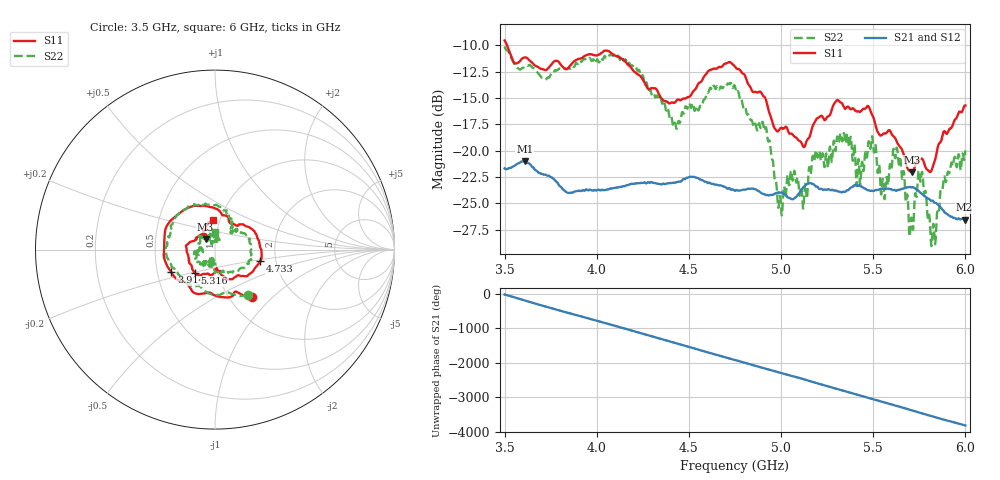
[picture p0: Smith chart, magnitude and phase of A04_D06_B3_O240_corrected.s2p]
! Created with skrf 1.9.0 (http://scikit-rf.org).
# Hz S RI R 50.0
!freq ReS11 ImS11 ReS21 ImS21 ReS12 ImS12 ReS22 ImS22
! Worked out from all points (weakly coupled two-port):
!   1601 points, 3.5 GHz to 6 GHz, reference 50 ohm
!   highest |S21| = -20.99 dB at 3.609 GHz (marker M1); lowest = -26.6 dB at 5.995 GHz (marker M2)
!   lowest |S11| = -22.0 dB at 5.709 GHz (marker M3), VSWR 1.17, Z = 44.7 + j5.31 ohm
!   |S11| at or under -10 dB: 3.514 GHz to end of sweep
!   |S22| runs from -29.1 to -10.1 dB; largest |S21 - S12| = 0.00097
!   S11 on the Smith chart (normalised r, x): 3.5 GHz: 1.27, -0.75; 3.914 GHz: 0.59, -0.16; 4.733 GHz: 1.65, -0.23; 5.316 GHz: 0.77, -0.21; 6 GHz: 0.93, +0.31
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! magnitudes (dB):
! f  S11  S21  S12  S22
! 3.5 GHz  -9.5  -21.7  -21.7  -10.1
! 3.609 GHz  -11.1  -21.0  -21.0  -12.0
! 3.914 GHz  -11.2  -23.8  -23.8  -11.5
! 3.917 GHz  -11.2  -23.8  -23.8  -11.5
! 4.334 GHz  -14.5  -23.2  -23.1  -15.1
! 4.427 GHz  -15.4  -23.0  -23.0  -17.5
! 4.733 GHz  -11.7  -23.7  -23.7  -13.8
! 4.75 GHz  -12.0  -23.8  -23.7  -13.9
! 4.911 GHz  -14.9  -24.2  -24.1  -18.1
! 4.994 GHz  -17.9  -24.0  -23.9  -24.3
! 5.062 GHz  -18.5  -24.6  -24.6  -22.9
! 5.13 GHz  -19.6  -23.3  -23.3  -23.3
! 5.167 GHz  -17.9  -23.1  -23.1  -21.1
! 5.316 GHz  -15.3  -23.9  -23.8  -19.1
! 5.584 GHz  -18.1  -23.6  -23.6  -22.5
! 5.638 GHz  -19.5  -23.7  -23.7  -21.2
! 5.709 GHz  -22.0  -23.5  -23.4  -26.5
! 5.756 GHz  -20.8  -24.0  -23.9  -23.0
! 5.827 GHz  -21.4  -24.8  -24.8  -27.0
! 5.877 GHz  -18.5  -25.6  -25.5  -23.6
! 5.995 GHz  -15.7  -26.6  -26.5  -20.8
! 6 GHz  -15.7  -26.5  -26.5  -20.0
